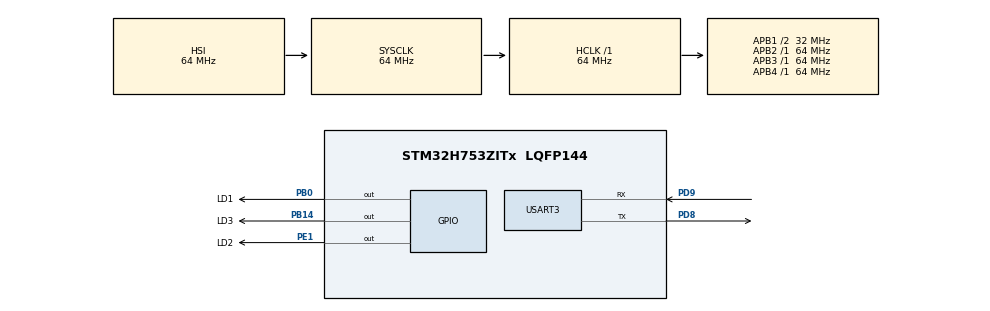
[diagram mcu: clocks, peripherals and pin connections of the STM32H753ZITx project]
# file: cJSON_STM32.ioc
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CORTEX_M7.default_mode_Activation=1
Mcu.Family=STM32H7
Mcu.Name=STM32H753ZITx
Mcu.Package=LQFP144
NVIC.PriorityGroup=NVIC_PRIORITYGROUP_4
NVIC.USART3_IRQn=true\:0\:0\:false\:false\:true\:true\:true\:true
PB0.GPIO_Label=LD1
PB0.Signal=GPIO_Output
PB14.GPIO_Label=LD3
PB14.Signal=GPIO_Output
PD8.Mode=Asynchronous
PD8.Signal=USART3_TX
PD9.Mode=Asynchronous
PD9.Signal=USART3_RX
PE1.GPIO_Label=LD2
PE1.Signal=GPIO_Output
ProjectManager.HeapSize=0x200
ProjectManager.StackSize=0x400
ProjectManager.TargetToolchain=STM32CubeIDE
RCC.ADCFreq_Value=129000000
RCC.APB1Freq_Value=32000000
RCC.APB2Freq_Value=64000000
RCC.APB3Freq_Value=64000000
RCC.APB4Freq_Value=64000000
RCC.CortexFreq_Value=64000000
RCC.D2PPRE1=RCC_APB1_DIV2
RCC.HCLKFreq_Value=64000000
RCC.SYSCLKFreq_VALUE=64000000
RCC.USBFreq_Value=129000000
USART3.VirtualMode-Asynchronous=VM_ASYNC
VP_MEMORYMAP_VS_MEMORYMAP.Mode=CurAppReg
board=custom

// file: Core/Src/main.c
/* USER CODE BEGIN Header */
/**
  ******************************************************************************
  * @file           : main.c
  * @brief          : Main program body
  ******************************************************************************
  * @attention
  *
  * Copyright (c) 2025 STMicroelectronics.
  * All rights reserved.
  *
  * This software is licensed under terms that can be found in the LICENSE file
  * in the root directory of this software component.
  * If no LICENSE file comes with this software, it is provided AS-IS.
  *
  ******************************************************************************
  */
/* USER CODE END Header */
#include "main.h"
#include "usart.h"
#include "gpio.h"

/* USER CODE BEGIN Includes */
#include "cJSON.h"
#include <string.h>
#include <stdio.h>
#include <stdlib.h>
/* USER CODE END Includes */

void SystemClock_Config(void);
static void MPU_Config(void);

/* USER CODE BEGIN 0 */
void _send_start_json(){
	cJSON *json;
	json = cJSON_CreateObject();
	cJSON_AddStringToObject(json, "project name", "STM32 cJSON");
	cJSON_AddStringToObject(json, "version", "1.7.19");

	cJSON* arr = cJSON_CreateArray();
	cJSON_AddItemToObject(json, "MICROCONTROLADOR", arr);

	cJSON *micro;
	micro = cJSON_CreateString("STM32H743ZI");
	cJSON_AddItemToArray(arr, micro);

	micro = cJSON_CreateString("STM32l476RG");
	cJSON_AddItemToArray(arr, micro);

	micro = cJSON_CreateString("STM32f407VG");
	cJSON_AddItemToArray(arr, micro);;

	char *string = cJSON_Print(json);
	HAL_UART_Transmit(&huart3, (uint8_t*)string, strlen(string),5000);

	free(string);
	cJSON_Delete(json);
}
/* USER CODE END 0 */

int main(void)
{

  /* MPU Configuration--------------------------------------------------------*/
  MPU_Config();

  /* MCU Configuration--------------------------------------------------------*/

  /* Reset of all peripherals, Initializes the Flash interface and the Systick. */
  HAL_Init();

  /* Configure the system clock */
  SystemClock_Config();

  /* Initialize all configured peripherals */
  MX_GPIO_Init();
  MX_USART3_UART_Init();

  /* Infinite loop */
  while (1)
  {
	  _send_start_json();
	  HAL_Delay(2000);
  }
}

void SystemClock_Config(void)
{
  RCC_OscInitTypeDef RCC_OscInitStruct = {0};
  RCC_ClkInitTypeDef RCC_ClkInitStruct = {0};

  /** Supply configuration update enable
  */
  HAL_PWREx_ConfigSupply(PWR_LDO_SUPPLY);

  /** Configure the main internal regulator output voltage
  */
  __HAL_PWR_VOLTAGESCALING_CONFIG(PWR_REGULATOR_VOLTAGE_SCALE3);

  while(!__HAL_PWR_GET_FLAG(PWR_FLAG_VOSRDY)) {}

  /** Initializes the RCC Oscillators according to the specified parameters
  * in the RCC_OscInitTypeDef structure.
  */
  RCC_OscInitStruct.OscillatorType = RCC_OSCILLATORTYPE_HSI;
  RCC_OscInitStruct.HSIState = RCC_HSI_DIV1;
  RCC_OscInitStruct.HSICalibrationValue = RCC_HSICALIBRATION_DEFAULT;
  RCC_OscInitStruct.PLL.PLLState = RCC_PLL_NONE;
  if (HAL_RCC_OscConfig(&RCC_OscInitStruct) != HAL_OK)
  {
    Error_Handler();
  }

  /** Initializes the CPU, AHB and APB buses clocks
  */
  RCC_ClkInitStruct.ClockType = RCC_CLOCKTYPE_HCLK|RCC_CLOCKTYPE_SYSCLK
                              |RCC_CLOCKTYPE_PCLK1|RCC_CLOCKTYPE_PCLK2
                              |RCC_CLOCKTYPE_D3PCLK1|RCC_CLOCKTYPE_D1PCLK1;
  RCC_ClkInitStruct.SYSCLKSource = RCC_SYSCLKSOURCE_HSI;
  RCC_ClkInitStruct.SYSCLKDivider = RCC_SYSCLK_DIV1;
  RCC_ClkInitStruct.AHBCLKDivider = RCC_HCLK_DIV1;
  RCC_ClkInitStruct.APB3CLKDivider = RCC_APB3_DIV1;
  RCC_ClkInitStruct.APB1CLKDivider = RCC_APB1_DIV2;
  RCC_ClkInitStruct.APB2CLKDivider = RCC_APB2_DIV1;
  RCC_ClkInitStruct.APB4CLKDivider = RCC_APB4_DIV1;

  if (HAL_RCC_ClockConfig(&RCC_ClkInitStruct, FLASH_LATENCY_1) != HAL_OK)
  {
    Error_Handler();
  }
}

 /* MPU Configuration */

void MPU_Config(void)
{
  MPU_Region_InitTypeDef MPU_InitStruct = {0};

  /* Disables the MPU */
  HAL_MPU_Disable();

  /** Initializes and configures the Region and the memory to be protected
  */
  MPU_InitStruct.Enable = MPU_REGION_ENABLE;
  MPU_InitStruct.Number = MPU_REGION_NUMBER0;
  MPU_InitStruct.BaseAddress = 0x0;
  MPU_InitStruct.Size = MPU_REGION_SIZE_4GB;
  MPU_InitStruct.SubRegionDisable = 0x87;
  MPU_InitStruct.TypeExtField = MPU_TEX_LEVEL0;
  MPU_InitStruct.AccessPermission = MPU_REGION_NO_ACCESS;
  MPU_InitStruct.DisableExec = MPU_INSTRUCTION_ACCESS_DISABLE;
  MPU_InitStruct.IsShareable = MPU_ACCESS_SHAREABLE;
  MPU_InitStruct.IsCacheable = MPU_ACCESS_NOT_CACHEABLE;
  MPU_InitStruct.IsBufferable = MPU_ACCESS_NOT_BUFFERABLE;

  HAL_MPU_ConfigRegion(&MPU_InitStruct);
  /* Enables the MPU */
  HAL_MPU_Enable(MPU_PRIVILEGED_DEFAULT);

}

void Error_Handler(void)
{
  __disable_irq();
  while (1)
  {
  }
}
